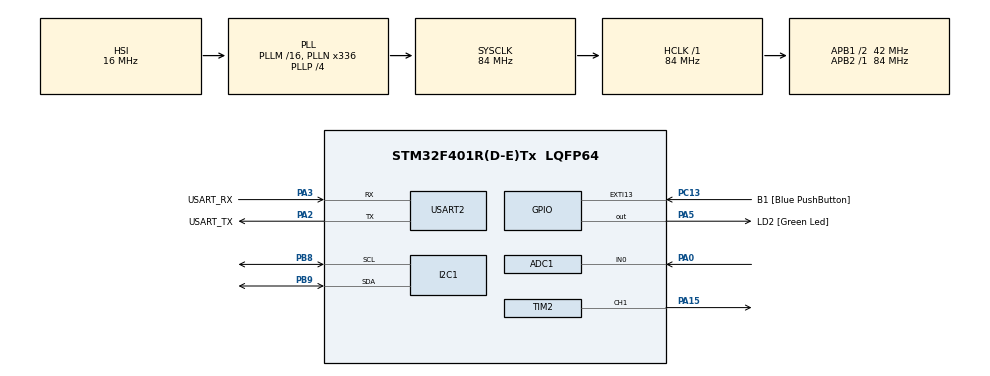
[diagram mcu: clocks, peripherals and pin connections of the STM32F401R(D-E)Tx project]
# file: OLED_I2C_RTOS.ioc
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ADC1.Channel-0\#ChannelRegularConversion=ADC_CHANNEL_0
ADC1.ClockPrescaler=ADC_CLOCK_SYNC_PCLK_DIV8
ADC1.ContinuousConvMode=ENABLE
ADC1.DMAContinuousRequests=ENABLE
ADC1.EOCSelection=ADC_EOC_SEQ_CONV
ADC1.NbrOfConversionFlag=1
ADC1.Rank-0\#ChannelRegularConversion=1
ADC1.SamplingTime-0\#ChannelRegularConversion=ADC_SAMPLETIME_3CYCLES
ADC1.ScanConvMode=DISABLE
ADC1.master=1
Dma.ADC1.0.Direction=DMA_PERIPH_TO_MEMORY
Dma.ADC1.0.FIFOMode=DMA_FIFOMODE_DISABLE
Dma.ADC1.0.Instance=DMA2_Stream0
Dma.ADC1.0.MemDataAlignment=DMA_MDATAALIGN_WORD
Dma.ADC1.0.MemInc=DMA_MINC_ENABLE
Dma.ADC1.0.Mode=DMA_CIRCULAR
Dma.ADC1.0.PeriphDataAlignment=DMA_PDATAALIGN_WORD
Dma.ADC1.0.PeriphInc=DMA_PINC_DISABLE
Dma.ADC1.0.Priority=DMA_PRIORITY_LOW
Dma.Request0=ADC1
FREERTOS.Tasks01=defaultTask,0,128,StartDefaultTask,Default,NULL,Dynamic,NULL,NULL
I2C1.I2C_Mode=I2C_Fast
Mcu.Family=STM32F4
Mcu.Name=STM32F401R(D-E)Tx
Mcu.Package=LQFP64
NVIC.DMA2_Stream0_IRQn=true\:5\:0\:false\:false\:true\:true\:false\:true\:true
NVIC.PriorityGroup=NVIC_PRIORITYGROUP_4
NVIC.TIM1_UP_TIM10_IRQn=true\:15\:0\:false\:false\:true\:false\:false\:true\:true
NVIC.TimeBase=TIM1_UP_TIM10_IRQn
NVIC.TimeBaseIP=TIM1
PA0-WKUP.Signal=ADCx_IN0
PA13.GPIO_Label=TMS
PA13.Mode=Serial_Wire
PA13.Signal=SYS_JTMS-SWDIO
PA14.GPIO_Label=TCK
PA14.Mode=Serial_Wire
PA14.Signal=SYS_JTCK-SWCLK
PA15.Signal=S_TIM2_CH1_ETR
PA2.GPIO_Label=USART_TX
PA2.GPIO_Mode=GPIO_MODE_AF_PP
PA2.GPIO_PuPd=GPIO_NOPULL
PA2.GPIO_Speed=GPIO_SPEED_FREQ_LOW
PA2.Mode=Asynchronous
PA2.Signal=USART2_TX
PA3.GPIO_Label=USART_RX
PA3.GPIO_Mode=GPIO_MODE_AF_PP
PA3.GPIO_PuPd=GPIO_NOPULL
PA3.GPIO_Speed=GPIO_SPEED_FREQ_LOW
PA3.Mode=Asynchronous
PA3.Signal=USART2_RX
PA5.GPIO_Label=LD2 [Green Led]
PA5.GPIO_Mode=GPIO_MODE_OUTPUT_PP
PA5.GPIO_PuPd=GPIO_NOPULL
PA5.GPIO_Speed=GPIO_SPEED_FREQ_LOW
PA5.Signal=GPIO_Output
PB3.GPIO_Label=SWO
PB3.Signal=SYS_JTDO-SWO
PB8.Mode=I2C
PB8.Signal=I2C1_SCL
PB9.Mode=I2C
PB9.Signal=I2C1_SDA
PC13-ANTI_TAMP.GPIO_Label=B1 [Blue PushButton]
PC13-ANTI_TAMP.GPIO_ModeDefaultEXTI=GPIO_MODE_IT_FALLING
PC13-ANTI_TAMP.GPIO_PuPd=GPIO_NOPULL
PC13-ANTI_TAMP.Signal=GPXTI13
PC14-OSC32_IN.Mode=LSE-External-Oscillator
PC14-OSC32_IN.Signal=RCC_OSC32_IN
PC15-OSC32_OUT.Mode=LSE-External-Oscillator
PC15-OSC32_OUT.Signal=RCC_OSC32_OUT
PH0\ -\ OSC_IN.Mode=HSE-External-Clock-Source
PH0\ -\ OSC_IN.Signal=RCC_OSC_IN
PH1\ -\ OSC_OUT.Mode=HSE-External-Clock-Source
PH1\ -\ OSC_OUT.Signal=RCC_OSC_OUT
ProjectManager.HeapSize=0x200
ProjectManager.StackSize=0x400
ProjectManager.TargetToolchain=STM32CubeIDE
RCC.48MHZClocksFreq_Value=48000000
RCC.AHBFreq_Value=84000000
RCC.APB1CLKDivider=RCC_HCLK_DIV2
RCC.APB1Freq_Value=42000000
RCC.APB1TimFreq_Value=84000000
RCC.APB2Freq_Value=84000000
RCC.APB2TimFreq_Value=84000000
RCC.CortexFreq_Value=84000000
RCC.HCLKFreq_Value=84000000
RCC.HSE_VALUE=8000000
RCC.HSI_VALUE=16000000
RCC.PLLN=336
RCC.PLLP=RCC_PLLP_DIV4
RCC.PLLQ=7
RCC.SYSCLKFreq_VALUE=84000000
RCC.SYSCLKSource=RCC_SYSCLKSOURCE_PLLCLK
RCC.VCOOutputFreq_Value=336000000
SH.ADCx_IN0.0=ADC1_IN0,IN0
SH.S_TIM2_CH1_ETR.0=TIM2_CH1,Output Compare1 CH1
TIM2.Channel-Output\ Compare1\ CH1=TIM_CHANNEL_1
TIM2.OCMode_1=TIM_OCMODE_TOGGLE
TIM2.Period=1500
TIM2.Pulse-Output\ Compare1\ CH1=0
USART2.VirtualMode=VM_ASYNC
VP_FREERTOS_VS_CMSIS_V1.Mode=CMSIS_V1
VP_SYS_VS_tim1.Mode=TIM1
board=NUCLEO-F401RE

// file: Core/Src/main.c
/* USER CODE BEGIN Header */
/**
  ******************************************************************************
  * @file           : main.c
  * @brief          : Main program body
  ******************************************************************************
  * @attention
  *
  * Copyright (c) 2023 STMicroelectronics.
  * All rights reserved.
  *
  * This software is licensed under terms that can be found in the LICENSE file
  * in the root directory of this software component.
  * If no LICENSE file comes with this software, it is provided AS-IS.
  *
  ******************************************************************************
  */
/* USER CODE END Header */
#include "main.h"
#include "cmsis_os.h"

/* USER CODE BEGIN Includes */
#include "ssd1306.h"
/* USER CODE END Includes */

/* USER CODE BEGIN PD */
#define MAX_X		102
#define MAX_Y		63

#define	BUFF_SIZE	204
/* USER CODE END PD */

ADC_HandleTypeDef hadc1;
DMA_HandleTypeDef hdma_adc1;
I2C_HandleTypeDef hi2c1;
TIM_HandleTypeDef htim2;
UART_HandleTypeDef huart2;

/* USER CODE BEGIN PV */

uint32_t buff_adc[BUFF_SIZE];
uint32_t buff_display[BUFF_SIZE];
char adc_char[10];

int flag = 0;
int trigger_level = 1000;
int trigger_point = 1;

/* USER CODE END PV */

void SystemClock_Config(void);
static void MX_GPIO_Init(void);
static void MX_DMA_Init(void);
static void MX_USART2_UART_Init(void);
static void MX_ADC1_Init(void);
static void MX_I2C1_Init(void);
static void MX_TIM2_Init(void);
void StartDefaultTask(void const * argument);

/* USER CODE BEGIN PFP */

void int_to_char(uint32_t num, char texto[]){

	uint32_t buffer = num;
	int contador = 0;

	while(buffer > 0){
		buffer /= 10;
		contador++;
	}

	texto[contador] = '\0';

	buffer = num;
	int pos = contador - 1, digito;
	while(pos >= 0){
		digito = buffer%10;
		buffer /= 10;
		texto[pos] = digito + '0';
		pos--;
	}
}

float map(float x, float in_min, float in_max, float out_min, float out_max){
    return (x - in_min) * (out_max - out_min) / (in_max - in_min) + out_min;
}

void display_plot_grilla(void){

	ssd1306_Fill(Black);
	ssd1306_SetCursor(0, 0);
	ssd1306_VLine(26, 9, 55, White);   // left  vertical line
	ssd1306_VLine(127, 9, 3, White);   // right vertical line up
	ssd1306_VLine(127, 61, 3, White);  // right vertical line bottom

	ssd1306_HLine(24, 9, 7, White);    // Max value auxiliary mark
	ssd1306_HLine(24, 36, 2, White);
	ssd1306_HLine(24, 63, 7, White);

	ssd1306_HLine(51, 9, 3, White);    // Max value auxiliary mark
	ssd1306_HLine(51, 63, 3, White);

	ssd1306_HLine(76, 9, 3, White);    // Max value auxiliary mark
	ssd1306_HLine(76, 63, 3, White);

	ssd1306_HLine(101, 9, 3, White);   // Max value auxiliary mark
	ssd1306_HLine(101, 63, 3, White);

	ssd1306_HLine(123, 9, 5, White);   // right side Max value auxiliary mark
	ssd1306_HLine(123, 63, 5, White);

	for (int x = 26; x <= 128; x += 5){
	  ssd1306_HLine(x, 36, 2, White);  // Draw the center line (horizontal line) with a dotted line
	}

	for (int x = (127 - 25); x > 30; x -= 25){
		for (int y = 10; y < 63; y += 5){
			ssd1306_VLine(x, y, 2, White); // Draw 3 vertical lines with dotted lines
		}
	}
}

void display_plot_signal(void){

	int y1 = 0, y2 = 0, y3 = 0, y4 = 0;
	int x1 = 0, x2 = 0, x3 = 0, x4 = 0;
	static int previous_trigger_point = 1;

	static int erase_buffer[BUFF_SIZE];

	if(flag == 1){

		trigger_point = 1;

		for(int i = 0; i < (BUFF_SIZE-MAX_X); i++){
			if((buff_display[i] >= trigger_level + 10) && (buff_display[i+1]) <= trigger_level - 10){
				trigger_point = i;
				break;
			}
		}

		for (int k = 0; k < MAX_X; k++){

			x1 = k + previous_trigger_point;
			x2 = x1 + 1;
			x3 = k + trigger_point;
			x4 = x3 + 1;

			y1 = erase_buffer[x1];
			y2 = erase_buffer[x2];
			y3 = map(buff_display[x3], 0, 4095, 63, 9); 				// convert to plot
			y4 = map(buff_display[x4], 0, 4095, 63, 9);

			ssd1306_Line(k + 27, y1, k + 28, y2, Black);
			ssd1306_Line(k + 27, y3, k + 28, y4, White);
		 }

		for (int x = 0; x < BUFF_SIZE; x++){
			erase_buffer[x] = buff_display[x];
		}

		previous_trigger_point = trigger_point;

		ssd1306_SetCursor(0, 0);
		ssd1306_WriteString("Sine", Font_6x8, White);

		 flag = 0;
	}
}

void HAL_ADC_ConvCpltCallback(ADC_HandleTypeDef* hadc){

	flag = 1;
	for(int i = 0; i<BUFF_SIZE; i++)
		buff_display[i] = buff_adc[i];
}

/* ------------------------- TAREAS FREE RTOS ------------------------- */

void Init_Sistema(void *pvParameters){
	ssd1306_Init();
	HAL_ADC_Start_DMA(&hadc1, buff_adc, BUFF_SIZE);
	HAL_TIM_OC_Start(&htim2, TIM_CHANNEL_1);
	vTaskDelete(NULL);
}

void Mostrar_pantalla(void *pvParameters){

	while(1){

		display_plot_grilla();
		display_plot_signal();
		int_to_char(buff_display[0], adc_char);	// Muestra siempre la posicion 0, habria que cambiarlo
		ssd1306_SetCursor(84, 0);
		ssd1306_WriteString(adc_char, Font_6x8, White);
		ssd1306_UpdateScreen();
		vTaskDelay(100/portTICK_RATE_MS);
	}
}

void Cambiar_Modo(void *pvParameters){

}

void Enviar_USB(void *pvParameters){

}

/* USER CODE END PFP */

int main(void)
{

  /* MCU Configuration--------------------------------------------------------*/

  /* Reset of all peripherals, Initializes the Flash interface and the Systick. */
  HAL_Init();

  /* Configure the system clock */
  SystemClock_Config();

  /* Initialize all configured peripherals */
  MX_GPIO_Init();
  MX_DMA_Init();
  MX_USART2_UART_Init();
  MX_ADC1_Init();
  MX_I2C1_Init();
  MX_TIM2_Init();

  /* Create the thread(s) */
  /* definition and creation of defaultTask */

  /* USER CODE BEGIN RTOS_THREADS */
  /* add threads, ... */
  xTaskCreate(Init_Sistema,"INICIALIZAR",configMINIMAL_STACK_SIZE, NULL, tskIDLE_PRIORITY+2, NULL);
  xTaskCreate(Mostrar_pantalla, "PANTALLA", configMINIMAL_STACK_SIZE, NULL, tskIDLE_PRIORITY+1, NULL);
  //xTaskCreate(Enviar_USB,"USB", configMINIMAL_STACK_SIZE, NULL, tskIDLE_PRIORITY+1, NULL);
  //xTaskCreate(Cambiar_Modo,"MODO",configMINIMAL_STACK_SIZE, NULL, tskIDLE_PRIORITY+1, NULL);

  /* USER CODE END RTOS_THREADS */

  /* Start scheduler */

  /* We should never get here as control is now taken by the scheduler */
  /* Infinite loop */
  /* USER CODE BEGIN WHILE */

  vTaskStartScheduler();

  while(1){
    /* USER CODE END WHILE */

  }
}

void SystemClock_Config(void)
{
  RCC_OscInitTypeDef RCC_OscInitStruct = {0};
  RCC_ClkInitTypeDef RCC_ClkInitStruct = {0};

  /** Configure the main internal regulator output voltage
  */
  __HAL_RCC_PWR_CLK_ENABLE();
  __HAL_PWR_VOLTAGESCALING_CONFIG(PWR_REGULATOR_VOLTAGE_SCALE2);

  /** Initializes the RCC Oscillators according to the specified parameters
  * in the RCC_OscInitTypeDef structure.
  */
  RCC_OscInitStruct.OscillatorType = RCC_OSCILLATORTYPE_HSI;
  RCC_OscInitStruct.HSIState = RCC_HSI_ON;
  RCC_OscInitStruct.HSICalibrationValue = RCC_HSICALIBRATION_DEFAULT;
  RCC_OscInitStruct.PLL.PLLState = RCC_PLL_ON;
  RCC_OscInitStruct.PLL.PLLSource = RCC_PLLSOURCE_HSI;
  RCC_OscInitStruct.PLL.PLLM = 16;
  RCC_OscInitStruct.PLL.PLLN = 336;
  RCC_OscInitStruct.PLL.PLLP = RCC_PLLP_DIV4;
  RCC_OscInitStruct.PLL.PLLQ = 7;
  if (HAL_RCC_OscConfig(&RCC_OscInitStruct) != HAL_OK)
  {
    Error_Handler();
  }

  /** Initializes the CPU, AHB and APB buses clocks
  */
  RCC_ClkInitStruct.ClockType = RCC_CLOCKTYPE_HCLK|RCC_CLOCKTYPE_SYSCLK
                              |RCC_CLOCKTYPE_PCLK1|RCC_CLOCKTYPE_PCLK2;
  RCC_ClkInitStruct.SYSCLKSource = RCC_SYSCLKSOURCE_PLLCLK;
  RCC_ClkInitStruct.AHBCLKDivider = RCC_SYSCLK_DIV1;
  RCC_ClkInitStruct.APB1CLKDivider = RCC_HCLK_DIV2;
  RCC_ClkInitStruct.APB2CLKDivider = RCC_HCLK_DIV1;

  if (HAL_RCC_ClockConfig(&RCC_ClkInitStruct, FLASH_LATENCY_2) != HAL_OK)
  {
    Error_Handler();
  }
}

static void MX_ADC1_Init(void)
{

  ADC_ChannelConfTypeDef sConfig = {0};

  /** Configure the global features of the ADC (Clock, Resolution, Data Alignment and number of conversion)
  */
  hadc1.Instance = ADC1;
  hadc1.Init.ClockPrescaler = ADC_CLOCK_SYNC_PCLK_DIV8;
  hadc1.Init.Resolution = ADC_RESOLUTION_12B;
  hadc1.Init.ScanConvMode = DISABLE;
  hadc1.Init.ContinuousConvMode = ENABLE;
  hadc1.Init.DiscontinuousConvMode = DISABLE;
  hadc1.Init.ExternalTrigConvEdge = ADC_EXTERNALTRIGCONVEDGE_NONE;
  hadc1.Init.ExternalTrigConv = ADC_SOFTWARE_START;
  hadc1.Init.DataAlign = ADC_DATAALIGN_RIGHT;
  hadc1.Init.NbrOfConversion = 1;
  hadc1.Init.DMAContinuousRequests = ENABLE;
  hadc1.Init.EOCSelection = ADC_EOC_SEQ_CONV;
  if (HAL_ADC_Init(&hadc1) != HAL_OK)
  {
    Error_Handler();
  }

  /** Configure for the selected ADC regular channel its corresponding rank in the sequencer and its sample time.
  */
  sConfig.Channel = ADC_CHANNEL_0;
  sConfig.Rank = 1;
  sConfig.SamplingTime = ADC_SAMPLETIME_3CYCLES;
  if (HAL_ADC_ConfigChannel(&hadc1, &sConfig) != HAL_OK)
  {
    Error_Handler();
  }

}

static void MX_I2C1_Init(void)
{

  hi2c1.Instance = I2C1;
  hi2c1.Init.ClockSpeed = 400000;
  hi2c1.Init.DutyCycle = I2C_DUTYCYCLE_2;
  hi2c1.Init.OwnAddress1 = 0;
  hi2c1.Init.AddressingMode = I2C_ADDRESSINGMODE_7BIT;
  hi2c1.Init.DualAddressMode = I2C_DUALADDRESS_DISABLE;
  hi2c1.Init.OwnAddress2 = 0;
  hi2c1.Init.GeneralCallMode = I2C_GENERALCALL_DISABLE;
  hi2c1.Init.NoStretchMode = I2C_NOSTRETCH_DISABLE;
  if (HAL_I2C_Init(&hi2c1) != HAL_OK)
  {
    Error_Handler();
  }

}

static void MX_TIM2_Init(void)
{

  TIM_MasterConfigTypeDef sMasterConfig = {0};
  TIM_OC_InitTypeDef sConfigOC = {0};

  htim2.Instance = TIM2;
  htim2.Init.Prescaler = 0;
  htim2.Init.CounterMode = TIM_COUNTERMODE_UP;
  htim2.Init.Period = 10000;
  htim2.Init.ClockDivision = TIM_CLOCKDIVISION_DIV1;
  htim2.Init.AutoReloadPreload = TIM_AUTORELOAD_PRELOAD_DISABLE;
  if (HAL_TIM_OC_Init(&htim2) != HAL_OK)
  {
    Error_Handler();
  }
  sMasterConfig.MasterOutputTrigger = TIM_TRGO_RESET;
  sMasterConfig.MasterSlaveMode = TIM_MASTERSLAVEMODE_DISABLE;
  if (HAL_TIMEx_MasterConfigSynchronization(&htim2, &sMasterConfig) != HAL_OK)
  {
    Error_Handler();
  }
  sConfigOC.OCMode = TIM_OCMODE_TOGGLE;
  sConfigOC.Pulse = 1;
  sConfigOC.OCPolarity = TIM_OCPOLARITY_HIGH;
  sConfigOC.OCFastMode = TIM_OCFAST_DISABLE;
  if (HAL_TIM_OC_ConfigChannel(&htim2, &sConfigOC, TIM_CHANNEL_1) != HAL_OK)
  {
    Error_Handler();
  }
  HAL_TIM_MspPostInit(&htim2);

}

static void MX_USART2_UART_Init(void)
{

  huart2.Instance = USART2;
  huart2.Init.BaudRate = 115200;
  huart2.Init.WordLength = UART_WORDLENGTH_8B;
  huart2.Init.StopBits = UART_STOPBITS_1;
  huart2.Init.Parity = UART_PARITY_NONE;
  huart2.Init.Mode = UART_MODE_TX_RX;
  huart2.Init.HwFlowCtl = UART_HWCONTROL_NONE;
  huart2.Init.OverSampling = UART_OVERSAMPLING_16;
  if (HAL_UART_Init(&huart2) != HAL_OK)
  {
    Error_Handler();
  }

}

static void MX_DMA_Init(void)
{

  /* DMA controller clock enable */
  __HAL_RCC_DMA2_CLK_ENABLE();

  /* DMA interrupt init */
  /* DMA2_Stream0_IRQn interrupt configuration */
  HAL_NVIC_SetPriority(DMA2_Stream0_IRQn, 5, 0);
  HAL_NVIC_EnableIRQ(DMA2_Stream0_IRQn);

}

static void MX_GPIO_Init(void)
{
  GPIO_InitTypeDef GPIO_InitStruct = {0};

  /* GPIO Ports Clock Enable */
  __HAL_RCC_GPIOC_CLK_ENABLE();
  __HAL_RCC_GPIOH_CLK_ENABLE();
  __HAL_RCC_GPIOA_CLK_ENABLE();
  __HAL_RCC_GPIOB_CLK_ENABLE();

  /*Configure GPIO pin Output Level */
  HAL_GPIO_WritePin(LD2_GPIO_Port, LD2_Pin, GPIO_PIN_RESET);

  /*Configure GPIO pin : B1_Pin */
  GPIO_InitStruct.Pin = B1_Pin;
  GPIO_InitStruct.Mode = GPIO_MODE_IT_FALLING;
  GPIO_InitStruct.Pull = GPIO_NOPULL;
  HAL_GPIO_Init(B1_GPIO_Port, &GPIO_InitStruct);

  /*Configure GPIO pin : LD2_Pin */
  GPIO_InitStruct.Pin = LD2_Pin;
  GPIO_InitStruct.Mode = GPIO_MODE_OUTPUT_PP;
  GPIO_InitStruct.Pull = GPIO_NOPULL;
  GPIO_InitStruct.Speed = GPIO_SPEED_FREQ_LOW;
  HAL_GPIO_Init(LD2_GPIO_Port, &GPIO_InitStruct);

}

void StartDefaultTask(void const * argument)
{
  for(;;)
  {
    osDelay(1);
  }
}

void HAL_TIM_PeriodElapsedCallback(TIM_HandleTypeDef *htim)
{
  if (htim->Instance == TIM1) {
    HAL_IncTick();
  }
}

void Error_Handler(void)
{
  __disable_irq();
  while (1)
  {
  }
}
